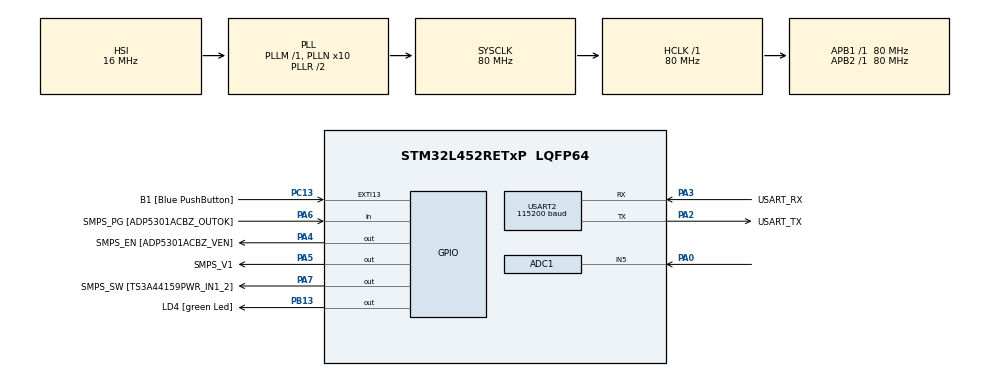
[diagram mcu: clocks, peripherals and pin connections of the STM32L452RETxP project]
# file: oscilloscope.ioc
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ADC1.Channel-2\#ChannelRegularConversion=ADC_CHANNEL_5
ADC1.ClockPrescaler=ADC_CLOCK_ASYNC_DIV4
ADC1.ContinuousConvMode=ENABLE
ADC1.EOCSelection=ADC_EOC_SEQ_CONV
ADC1.NbrOfConversion=1
ADC1.NbrOfConversionFlag=1
ADC1.OffsetNumber-2\#ChannelRegularConversion=ADC_OFFSET_NONE
ADC1.Overrun=ADC_OVR_DATA_OVERWRITTEN
ADC1.Rank-2\#ChannelRegularConversion=1
ADC1.SamplingTime-2\#ChannelRegularConversion=ADC_SAMPLETIME_2CYCLES_5
ADC1.master=1
Dma.Request0=USART2_RX
Dma.Request1=USART2_TX
Dma.USART2_RX.0.Direction=DMA_PERIPH_TO_MEMORY
Dma.USART2_RX.0.Instance=DMA1_Channel6
Dma.USART2_RX.0.MemDataAlignment=DMA_MDATAALIGN_BYTE
Dma.USART2_RX.0.MemInc=DMA_MINC_ENABLE
Dma.USART2_RX.0.Mode=DMA_NORMAL
Dma.USART2_RX.0.PeriphDataAlignment=DMA_PDATAALIGN_BYTE
Dma.USART2_RX.0.PeriphInc=DMA_PINC_DISABLE
Dma.USART2_RX.0.Priority=DMA_PRIORITY_LOW
Dma.USART2_TX.1.Direction=DMA_MEMORY_TO_PERIPH
Dma.USART2_TX.1.Instance=DMA1_Channel7
Dma.USART2_TX.1.MemDataAlignment=DMA_MDATAALIGN_BYTE
Dma.USART2_TX.1.MemInc=DMA_MINC_ENABLE
Dma.USART2_TX.1.Mode=DMA_NORMAL
Dma.USART2_TX.1.PeriphDataAlignment=DMA_PDATAALIGN_BYTE
Dma.USART2_TX.1.PeriphInc=DMA_PINC_DISABLE
Dma.USART2_TX.1.Priority=DMA_PRIORITY_LOW
Mcu.Family=STM32L4
Mcu.Name=STM32L452RETxP
Mcu.Package=LQFP64
NVIC.ADC1_IRQn=true\:0\:0\:false\:false\:true\:true\:true
NVIC.DMA1_Channel6_IRQn=true\:0\:0\:false\:false\:true\:false\:true
NVIC.DMA1_Channel7_IRQn=true\:0\:0\:false\:false\:true\:false\:true
NVIC.PriorityGroup=NVIC_PRIORITYGROUP_4
NVIC.USART2_IRQn=true\:0\:0\:false\:false\:true\:true\:true
PA0.Signal=ADCx_IN5
PA13\ (JTMS/SWDIO).GPIO_Label=TMS
PA13\ (JTMS/SWDIO).Mode=Serial_Wire
PA13\ (JTMS/SWDIO).Signal=SYS_JTMS-SWDIO
PA14\ (JTCK/SWCLK).GPIO_Label=TCK
PA14\ (JTCK/SWCLK).Mode=Serial_Wire
PA14\ (JTCK/SWCLK).Signal=SYS_JTCK-SWCLK
PA2.GPIO_Label=USART_TX
PA2.GPIO_Mode=GPIO_MODE_AF_PP
PA2.GPIO_PuPd=GPIO_NOPULL
PA2.GPIO_Speed=GPIO_SPEED_FREQ_VERY_HIGH
PA2.Mode=Asynchronous
PA2.Signal=USART2_TX
PA3.GPIO_Label=USART_RX
PA3.GPIO_Mode=GPIO_MODE_AF_PP
PA3.GPIO_PuPd=GPIO_NOPULL
PA3.GPIO_Speed=GPIO_SPEED_FREQ_VERY_HIGH
PA3.Mode=Asynchronous
PA3.Signal=USART2_RX
PA4.GPIO_Label=SMPS_EN [ADP5301ACBZ_VEN]
PA4.Signal=GPIO_Output
PA5.GPIO_Label=SMPS_V1
PA5.GPIO_ModeDefaultOutputPP=GPIO_MODE_OUTPUT_PP
PA5.GPIO_PuPd=GPIO_NOPULL
PA5.GPIO_Speed=GPIO_SPEED_FREQ_LOW
PA5.Signal=GPIO_Output
PA6.GPIO_Label=SMPS_PG [ADP5301ACBZ_OUTOK]
PA6.GPIO_PuPd=GPIO_NOPULL
PA6.Signal=GPIO_Input
PA7.GPIO_Label=SMPS_SW [TS3A44159PWR_IN1_2]
PA7.Signal=GPIO_Output
PB13.GPIO_Label=LD4 [green Led]
PB13.Signal=GPIO_Output
PB3\ (JTDO/TRACESWO).GPIO_Label=SWO
PB3\ (JTDO/TRACESWO).Signal=SYS_JTDO-SWO
PC13.GPIO_Label=B1 [Blue PushButton]
PC13.GPIO_ModeDefaultEXTI=GPIO_MODE_IT_FALLING
PC13.GPIO_PuPd=GPIO_NOPULL
PC13.Signal=GPXTI13
PC14-OSC32_IN\ (PC14).Mode=LSE-External-Oscillator
PC14-OSC32_IN\ (PC14).Signal=RCC_OSC32_IN
PC15-OSC32_OUT\ (PC15).Mode=LSE-External-Oscillator
PC15-OSC32_OUT\ (PC15).Signal=RCC_OSC32_OUT
PH0-OSC_IN\ (PH0).GPIO_Label=MCO
PH0-OSC_IN\ (PH0).Mode=HSE-External-Clock-Source
PH0-OSC_IN\ (PH0).Signal=RCC_OSC_IN
PH1-OSC_OUT\ (PH1).Signal=RCC_OSC_OUT
ProjectManager.HeapSize=0x200
ProjectManager.StackSize=0x400
ProjectManager.TargetToolchain=STM32CubeIDE
RCC.ADCFreq_Value=64000000
RCC.AHBFreq_Value=80000000
RCC.APB1Freq_Value=80000000
RCC.APB1TimFreq_Value=80000000
RCC.APB2Freq_Value=80000000
RCC.APB2TimFreq_Value=80000000
RCC.CortexFreq_Value=80000000
RCC.HCLKFreq_Value=80000000
RCC.HSE_VALUE=8000000
RCC.HSI48_VALUE=48000000
RCC.HSI_VALUE=16000000
RCC.MSI_VALUE=4000000
RCC.PLLN=10
RCC.PLLSourceVirtual=RCC_PLLSOURCE_HSI
RCC.PREFETCH_ENABLE=1
RCC.SYSCLKFreq_VALUE=80000000
RCC.SYSCLKSource=RCC_SYSCLKSOURCE_PLLCLK
RCC.USBFreq_Value=64000000
RCC.VCOOutputFreq_Value=160000000
SH.ADCx_IN5.0=ADC1_IN5,IN5-Single-Ended
USART2.BaudRate=115200
USART2.StopBits=STOPBITS_2
USART2.VirtualMode-Asynchronous=VM_ASYNC
board=NUCLEO-L452RE-P

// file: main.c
/* USER CODE BEGIN Header */
/**
  ******************************************************************************
  * @file           : main.c
  * @brief          : Main program body
  ******************************************************************************
  * @attention
  *
  * <h2><center>&copy; Copyright (c) 2020 STMicroelectronics.
  * All rights reserved.</center></h2>
  *
  * This software component is licensed by ST under BSD 3-Clause license,
  * the "License"; You may not use this file except in compliance with the
  * License. You may obtain a copy of the License at:
  *                        opensource.org/licenses/BSD-3-Clause
  *
  ******************************************************************************
  */
/* USER CODE END Header */

#include "main.h"

/* USER CODE BEGIN Includes */
#include <printf.h>
#include <string.h>
/* USER CODE END Includes */

/* USER CODE BEGIN PD */
#define ADCRES 4096
#define REFVOLT 3300
/* USER CODE END PD */

ADC_HandleTypeDef hadc1;

UART_HandleTypeDef huart2;
DMA_HandleTypeDef hdma_usart2_rx;
DMA_HandleTypeDef hdma_usart2_tx;

/* USER CODE BEGIN PV */
uint8_t uart_data_in[1] = { 1 };
char msg[8];
uint16_t adcValue;
uint16_t adcVoltage;
uint8_t adcMultiplier;
uint8_t mode;
/* USER CODE END PV */

void SystemClock_Config(void);
static void MX_GPIO_Init(void);
static void MX_DMA_Init(void);
static void MX_USART2_UART_Init(void);
static void MX_ADC1_Init(void);

int main(void)
{

  /* MCU Configuration--------------------------------------------------------*/

  /* Reset of all peripherals, Initializes the Flash interface and the Systick. */
  HAL_Init();

  /* Configure the system clock */
  SystemClock_Config();

  /* Initialize all configured peripherals */
  MX_GPIO_Init();
  MX_DMA_Init();
  MX_USART2_UART_Init();
  MX_ADC1_Init();

  /* Infinite loop */
  /* USER CODE BEGIN WHILE */
  HAL_ADC_Start(&hadc1);
  //adcVoltage = 60000;
  while (1)
  {
	  if(HAL_ADC_PollForConversion(&hadc1, 500) == HAL_OK) {
		  adcValue = HAL_ADC_GetValue(&hadc1);
	  }
	  //adcValue = 3500;
	  HAL_UART_Receive_DMA(&huart2, uart_data_in, 1);
	  //adc_Voltage = 500;
	  mode = uart_data_in[0];

	  switch(mode) {

	  case 1:
		  adcMultiplier = 1;
		  break;

	  case 2:
		  adcMultiplier = 2;
		  break;

	  case 3:
		  adcMultiplier = 4;
		  break;

	  default:
		  adcMultiplier = 0;
	  }

	  adcVoltage = ((adcValue * REFVOLT * adcMultiplier) / ADCRES);

	  sprintf(msg, "%u\n", adcVoltage);
	  HAL_UART_Transmit_DMA(&huart2, (uint8_t*)msg, strlen(msg));

    /* USER CODE END WHILE */

  }
}

void SystemClock_Config(void)
{
  RCC_OscInitTypeDef RCC_OscInitStruct = {0};
  RCC_ClkInitTypeDef RCC_ClkInitStruct = {0};
  RCC_PeriphCLKInitTypeDef PeriphClkInit = {0};

  /** Initializes the CPU, AHB and APB busses clocks
  */
  RCC_OscInitStruct.OscillatorType = RCC_OSCILLATORTYPE_HSI;
  RCC_OscInitStruct.HSIState = RCC_HSI_ON;
  RCC_OscInitStruct.HSICalibrationValue = RCC_HSICALIBRATION_DEFAULT;
  RCC_OscInitStruct.PLL.PLLState = RCC_PLL_ON;
  RCC_OscInitStruct.PLL.PLLSource = RCC_PLLSOURCE_HSI;
  RCC_OscInitStruct.PLL.PLLM = 1;
  RCC_OscInitStruct.PLL.PLLN = 10;
  RCC_OscInitStruct.PLL.PLLP = RCC_PLLP_DIV7;
  RCC_OscInitStruct.PLL.PLLQ = RCC_PLLQ_DIV2;
  RCC_OscInitStruct.PLL.PLLR = RCC_PLLR_DIV2;
  if (HAL_RCC_OscConfig(&RCC_OscInitStruct) != HAL_OK)
  {
    Error_Handler();
  }
  /** Initializes the CPU, AHB and APB busses clocks
  */
  RCC_ClkInitStruct.ClockType = RCC_CLOCKTYPE_HCLK|RCC_CLOCKTYPE_SYSCLK
                              |RCC_CLOCKTYPE_PCLK1|RCC_CLOCKTYPE_PCLK2;
  RCC_ClkInitStruct.SYSCLKSource = RCC_SYSCLKSOURCE_PLLCLK;
  RCC_ClkInitStruct.AHBCLKDivider = RCC_SYSCLK_DIV1;
  RCC_ClkInitStruct.APB1CLKDivider = RCC_HCLK_DIV1;
  RCC_ClkInitStruct.APB2CLKDivider = RCC_HCLK_DIV1;

  if (HAL_RCC_ClockConfig(&RCC_ClkInitStruct, FLASH_LATENCY_4) != HAL_OK)
  {
    Error_Handler();
  }
  PeriphClkInit.PeriphClockSelection = RCC_PERIPHCLK_USART2|RCC_PERIPHCLK_ADC;
  PeriphClkInit.Usart2ClockSelection = RCC_USART2CLKSOURCE_PCLK1;
  PeriphClkInit.AdcClockSelection = RCC_ADCCLKSOURCE_PLLSAI1;
  PeriphClkInit.PLLSAI1.PLLSAI1Source = RCC_PLLSOURCE_HSI;
  PeriphClkInit.PLLSAI1.PLLSAI1M = 1;
  PeriphClkInit.PLLSAI1.PLLSAI1N = 8;
  PeriphClkInit.PLLSAI1.PLLSAI1P = RCC_PLLP_DIV7;
  PeriphClkInit.PLLSAI1.PLLSAI1Q = RCC_PLLQ_DIV2;
  PeriphClkInit.PLLSAI1.PLLSAI1R = RCC_PLLR_DIV2;
  PeriphClkInit.PLLSAI1.PLLSAI1ClockOut = RCC_PLLSAI1_ADC1CLK;
  if (HAL_RCCEx_PeriphCLKConfig(&PeriphClkInit) != HAL_OK)
  {
    Error_Handler();
  }
  /** Configure the main internal regulator output voltage
  */
  if (HAL_PWREx_ControlVoltageScaling(PWR_REGULATOR_VOLTAGE_SCALE1) != HAL_OK)
  {
    Error_Handler();
  }
}

static void MX_ADC1_Init(void)
{

  ADC_ChannelConfTypeDef sConfig = {0};

  /** Common config
  */
  hadc1.Instance = ADC1;
  hadc1.Init.ClockPrescaler = ADC_CLOCK_ASYNC_DIV4;
  hadc1.Init.Resolution = ADC_RESOLUTION_12B;
  hadc1.Init.DataAlign = ADC_DATAALIGN_RIGHT;
  hadc1.Init.ScanConvMode = ADC_SCAN_DISABLE;
  hadc1.Init.EOCSelection = ADC_EOC_SEQ_CONV;
  hadc1.Init.LowPowerAutoWait = DISABLE;
  hadc1.Init.ContinuousConvMode = ENABLE;
  hadc1.Init.NbrOfConversion = 1;
  hadc1.Init.DiscontinuousConvMode = DISABLE;
  hadc1.Init.NbrOfDiscConversion = 1;
  hadc1.Init.ExternalTrigConv = ADC_SOFTWARE_START;
  hadc1.Init.ExternalTrigConvEdge = ADC_EXTERNALTRIGCONVEDGE_NONE;
  hadc1.Init.DMAContinuousRequests = DISABLE;
  hadc1.Init.Overrun = ADC_OVR_DATA_OVERWRITTEN;
  hadc1.Init.OversamplingMode = DISABLE;
  if (HAL_ADC_Init(&hadc1) != HAL_OK)
  {
    Error_Handler();
  }
  /** Configure Regular Channel
  */
  sConfig.Channel = ADC_CHANNEL_5;
  sConfig.Rank = ADC_REGULAR_RANK_1;
  sConfig.SamplingTime = ADC_SAMPLETIME_2CYCLES_5;
  sConfig.SingleDiff = ADC_SINGLE_ENDED;
  sConfig.OffsetNumber = ADC_OFFSET_NONE;
  sConfig.Offset = 0;
  if (HAL_ADC_ConfigChannel(&hadc1, &sConfig) != HAL_OK)
  {
    Error_Handler();
  }

}

static void MX_USART2_UART_Init(void)
{

  huart2.Instance = USART2;
  huart2.Init.BaudRate = 115200;
  huart2.Init.WordLength = UART_WORDLENGTH_8B;
  huart2.Init.StopBits = UART_STOPBITS_2;
  huart2.Init.Parity = UART_PARITY_NONE;
  huart2.Init.Mode = UART_MODE_TX_RX;
  huart2.Init.HwFlowCtl = UART_HWCONTROL_NONE;
  huart2.Init.OverSampling = UART_OVERSAMPLING_16;
  huart2.Init.OneBitSampling = UART_ONE_BIT_SAMPLE_DISABLE;
  huart2.AdvancedInit.AdvFeatureInit = UART_ADVFEATURE_NO_INIT;
  if (HAL_UART_Init(&huart2) != HAL_OK)
  {
    Error_Handler();
  }

}

static void MX_DMA_Init(void)
{

  /* DMA controller clock enable */
  __HAL_RCC_DMA1_CLK_ENABLE();

  /* DMA interrupt init */
  /* DMA1_Channel6_IRQn interrupt configuration */
  HAL_NVIC_SetPriority(DMA1_Channel6_IRQn, 0, 0);
  HAL_NVIC_EnableIRQ(DMA1_Channel6_IRQn);
  /* DMA1_Channel7_IRQn interrupt configuration */
  HAL_NVIC_SetPriority(DMA1_Channel7_IRQn, 0, 0);
  HAL_NVIC_EnableIRQ(DMA1_Channel7_IRQn);

}

static void MX_GPIO_Init(void)
{
  GPIO_InitTypeDef GPIO_InitStruct = {0};

  /* GPIO Ports Clock Enable */
  __HAL_RCC_GPIOC_CLK_ENABLE();
  __HAL_RCC_GPIOH_CLK_ENABLE();
  __HAL_RCC_GPIOA_CLK_ENABLE();
  __HAL_RCC_GPIOB_CLK_ENABLE();

  /*Configure GPIO pin Output Level */
  HAL_GPIO_WritePin(GPIOA, SMPS_EN_Pin|SMPS_V1_Pin|SMPS_SW_Pin, GPIO_PIN_RESET);

  /*Configure GPIO pin Output Level */
  HAL_GPIO_WritePin(LD4_GPIO_Port, LD4_Pin, GPIO_PIN_RESET);

  /*Configure GPIO pin : B1_Pin */
  GPIO_InitStruct.Pin = B1_Pin;
  GPIO_InitStruct.Mode = GPIO_MODE_IT_FALLING;
  GPIO_InitStruct.Pull = GPIO_NOPULL;
  HAL_GPIO_Init(B1_GPIO_Port, &GPIO_InitStruct);

  /*Configure GPIO pins : SMPS_EN_Pin SMPS_V1_Pin SMPS_SW_Pin */
  GPIO_InitStruct.Pin = SMPS_EN_Pin|SMPS_V1_Pin|SMPS_SW_Pin;
  GPIO_InitStruct.Mode = GPIO_MODE_OUTPUT_PP;
  GPIO_InitStruct.Pull = GPIO_NOPULL;
  GPIO_InitStruct.Speed = GPIO_SPEED_FREQ_LOW;
  HAL_GPIO_Init(GPIOA, &GPIO_InitStruct);

  /*Configure GPIO pin : SMPS_PG_Pin */
  GPIO_InitStruct.Pin = SMPS_PG_Pin;
  GPIO_InitStruct.Mode = GPIO_MODE_INPUT;
  GPIO_InitStruct.Pull = GPIO_NOPULL;
  HAL_GPIO_Init(SMPS_PG_GPIO_Port, &GPIO_InitStruct);

  /*Configure GPIO pin : LD4_Pin */
  GPIO_InitStruct.Pin = LD4_Pin;
  GPIO_InitStruct.Mode = GPIO_MODE_OUTPUT_PP;
  GPIO_InitStruct.Pull = GPIO_NOPULL;
  GPIO_InitStruct.Speed = GPIO_SPEED_FREQ_LOW;
  HAL_GPIO_Init(LD4_GPIO_Port, &GPIO_InitStruct);

}

void Error_Handler(void)
{
}

/************************ (C) COPYRIGHT STMicroelectronics *****END OF FILE****/
